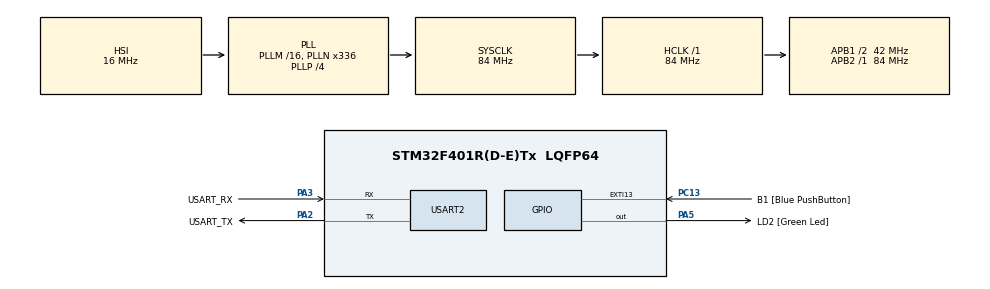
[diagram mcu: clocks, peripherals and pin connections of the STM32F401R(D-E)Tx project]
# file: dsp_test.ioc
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Mcu.Family=STM32F4
Mcu.Name=STM32F401R(D-E)Tx
Mcu.Package=LQFP64
NVIC.PriorityGroup=NVIC_PRIORITYGROUP_0
PA13.GPIO_Label=TMS
PA13.Mode=Serial_Wire
PA13.Signal=SYS_JTMS-SWDIO
PA14.GPIO_Label=TCK
PA14.Mode=Serial_Wire
PA14.Signal=SYS_JTCK-SWCLK
PA2.GPIO_Label=USART_TX
PA2.GPIO_Mode=GPIO_MODE_AF_PP
PA2.GPIO_PuPd=GPIO_NOPULL
PA2.GPIO_Speed=GPIO_SPEED_FREQ_LOW
PA2.Mode=Asynchronous
PA2.Signal=USART2_TX
PA3.GPIO_Label=USART_RX
PA3.GPIO_Mode=GPIO_MODE_AF_PP
PA3.GPIO_PuPd=GPIO_NOPULL
PA3.GPIO_Speed=GPIO_SPEED_FREQ_LOW
PA3.Mode=Asynchronous
PA3.Signal=USART2_RX
PA5.GPIO_Label=LD2 [Green Led]
PA5.GPIO_Mode=GPIO_MODE_OUTPUT_PP
PA5.GPIO_PuPd=GPIO_NOPULL
PA5.GPIO_Speed=GPIO_SPEED_FREQ_LOW
PA5.Signal=GPIO_Output
PB3.GPIO_Label=SWO
PB3.Signal=SYS_JTDO-SWO
PC13-ANTI_TAMP.GPIO_Label=B1 [Blue PushButton]
PC13-ANTI_TAMP.GPIO_ModeDefaultEXTI=GPIO_MODE_IT_FALLING
PC13-ANTI_TAMP.GPIO_PuPd=GPIO_NOPULL
PC13-ANTI_TAMP.Signal=GPXTI13
PC14-OSC32_IN.Mode=LSE-External-Oscillator
PC14-OSC32_IN.Signal=RCC_OSC32_IN
PC15-OSC32_OUT.Mode=LSE-External-Oscillator
PC15-OSC32_OUT.Signal=RCC_OSC32_OUT
PH0\ -\ OSC_IN.Mode=HSE-External-Clock-Source
PH0\ -\ OSC_IN.Signal=RCC_OSC_IN
PH1\ -\ OSC_OUT.Mode=HSE-External-Clock-Source
PH1\ -\ OSC_OUT.Signal=RCC_OSC_OUT
ProjectManager.HeapSize=0x200
ProjectManager.StackSize=0x400
ProjectManager.TargetToolchain=SW4STM32
RCC.48MHZClocksFreq_Value=48000000
RCC.AHBFreq_Value=84000000
RCC.APB1CLKDivider=RCC_HCLK_DIV2
RCC.APB1Freq_Value=42000000
RCC.APB1TimFreq_Value=84000000
RCC.APB2Freq_Value=84000000
RCC.APB2TimFreq_Value=84000000
RCC.CortexFreq_Value=84000000
RCC.HCLKFreq_Value=84000000
RCC.HSE_VALUE=8000000
RCC.HSI_VALUE=16000000
RCC.PLLN=336
RCC.PLLP=RCC_PLLP_DIV4
RCC.PLLQ=7
RCC.SYSCLKFreq_VALUE=84000000
RCC.SYSCLKSource=RCC_SYSCLKSOURCE_PLLCLK
RCC.VCOOutputFreq_Value=336000000
USART2.VirtualMode=VM_ASYNC
board=NUCLEO-F401RE

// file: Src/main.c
/* USER CODE BEGIN Header */
/**
  ******************************************************************************
  * @file           : main.c
  * @brief          : Main program body
  ******************************************************************************
  * @attention
  *
  * <h2><center>&copy; Copyright (c) 2019 STMicroelectronics.
  * All rights reserved.</center></h2>
  *
  * This software component is licensed by ST under BSD 3-Clause license,
  * the "License"; You may not use this file except in compliance with the
  * License. You may obtain a copy of the License at:
  *                        opensource.org/licenses/BSD-3-Clause
  *
  ******************************************************************************
  */
/* USER CODE END Header */

#include "main.h"

/* USER CODE BEGIN Includes */
#include <sys/unistd.h>
#include <errno.h>
#include "arm_math.h"
#include "arm_const_structs.h"

/* USER CODE END Includes */

UART_HandleTypeDef huart2;

/* USER CODE BEGIN PV */
/* -------------------------------------------------------------------
 * External Input and Output buffer Declarations for FFT Bin Example
 * ------------------------------------------------------------------- */
float32_t testInput[32] =
{
    0.0,
    1.9509032201612824,
    3.826834323650898,
    5.555702330196022,
    7.071067811865475,
    8.314696123025453,
    9.238795325112868,
    9.807852804032304,
    10.0,
    9.807852804032304,
    9.238795325112868,
    8.314696123025454,
    7.0710678118654755,
    5.555702330196022,
    3.826834323650899,
    1.9509032201612861,
    1.2246467991473533e-15,
    -1.9509032201612837,
    -3.8268343236508966,
    -5.55570233019602,
    -7.071067811865475,
    -8.314696123025453,
    -9.238795325112864,
    -9.807852804032303,
    -10.0,
    -9.807852804032304,
    -9.238795325112866,
    -8.314696123025454,
    -7.071067811865477,
    -5.555702330196022,
    -3.826834323650904,
    -1.9509032201612873
};
float32_t testOutput[32];

/* USER CODE END PV */

void SystemClock_Config(void);
static void MX_GPIO_Init(void);
static void MX_USART2_UART_Init(void);

/* USER CODE BEGIN 0 */
int _write(int file, char *ptr, int len)
{
  if ((file != STDOUT_FILENO) && (file != STDERR_FILENO))
  {
     errno = EBADF;
     return -1;
  }

  HAL_StatusTypeDef status =
     HAL_UART_Transmit(&huart2, (uint8_t*)ptr, len, 1000);

  return (status == HAL_OK ? len : 0);
}

/* USER CODE END 0 */

int main(void)
{

  /* MCU Configuration--------------------------------------------------------*/

  /* Reset of all peripherals, Initializes the Flash interface and the Systick. */
  HAL_Init();

  /* Configure the system clock */
  SystemClock_Config();

  /* Initialize all configured peripherals */
  MX_GPIO_Init();
  MX_USART2_UART_Init();
  /* USER CODE BEGIN 2 */
  arm_rfft_fast_instance_f32 S; // RFFT instance
  arm_status status;
  status = arm_rfft_fast_init_f32(&S, 32);
  arm_rfft_fast_f32(&S, testInput, testOutput, 0);

  if ( status != ARM_MATH_SUCCESS)
  {
    while (1);
  }
  printf("N, Amplitude\r\n");
  for (int i = 0; i < sizeof(testInput)/sizeof(testInput[0]); i++)
  {
    printf("%d, %f\r\n", i, testInput[i]);
  }

  printf("N, Freq\r\n");
  for (int i = 0; i < sizeof(testOutput)/sizeof(testOutput[0]); i++)
  {
    printf("%d, %f\r\n", i, testOutput[i]);
  }
  /* USER CODE END 2 */

  /* Infinite loop */
  while (1)
  {

  }
}

void SystemClock_Config(void)
{
  RCC_OscInitTypeDef RCC_OscInitStruct = {0};
  RCC_ClkInitTypeDef RCC_ClkInitStruct = {0};

  /** Configure the main internal regulator output voltage
  */
  __HAL_RCC_PWR_CLK_ENABLE();
  __HAL_PWR_VOLTAGESCALING_CONFIG(PWR_REGULATOR_VOLTAGE_SCALE2);
  /** Initializes the CPU, AHB and APB busses clocks
  */
  RCC_OscInitStruct.OscillatorType = RCC_OSCILLATORTYPE_HSI;
  RCC_OscInitStruct.HSIState = RCC_HSI_ON;
  RCC_OscInitStruct.HSICalibrationValue = RCC_HSICALIBRATION_DEFAULT;
  RCC_OscInitStruct.PLL.PLLState = RCC_PLL_ON;
  RCC_OscInitStruct.PLL.PLLSource = RCC_PLLSOURCE_HSI;
  RCC_OscInitStruct.PLL.PLLM = 16;
  RCC_OscInitStruct.PLL.PLLN = 336;
  RCC_OscInitStruct.PLL.PLLP = RCC_PLLP_DIV4;
  RCC_OscInitStruct.PLL.PLLQ = 7;
  if (HAL_RCC_OscConfig(&RCC_OscInitStruct) != HAL_OK)
  {
    Error_Handler();
  }
  /** Initializes the CPU, AHB and APB busses clocks
  */
  RCC_ClkInitStruct.ClockType = RCC_CLOCKTYPE_HCLK|RCC_CLOCKTYPE_SYSCLK
                              |RCC_CLOCKTYPE_PCLK1|RCC_CLOCKTYPE_PCLK2;
  RCC_ClkInitStruct.SYSCLKSource = RCC_SYSCLKSOURCE_PLLCLK;
  RCC_ClkInitStruct.AHBCLKDivider = RCC_SYSCLK_DIV1;
  RCC_ClkInitStruct.APB1CLKDivider = RCC_HCLK_DIV2;
  RCC_ClkInitStruct.APB2CLKDivider = RCC_HCLK_DIV1;

  if (HAL_RCC_ClockConfig(&RCC_ClkInitStruct, FLASH_LATENCY_2) != HAL_OK)
  {
    Error_Handler();
  }
}

static void MX_USART2_UART_Init(void)
{

  huart2.Instance = USART2;
  huart2.Init.BaudRate = 115200;
  huart2.Init.WordLength = UART_WORDLENGTH_8B;
  huart2.Init.StopBits = UART_STOPBITS_1;
  huart2.Init.Parity = UART_PARITY_NONE;
  huart2.Init.Mode = UART_MODE_TX_RX;
  huart2.Init.HwFlowCtl = UART_HWCONTROL_NONE;
  huart2.Init.OverSampling = UART_OVERSAMPLING_16;
  if (HAL_UART_Init(&huart2) != HAL_OK)
  {
    Error_Handler();
  }

}

static void MX_GPIO_Init(void)
{
  GPIO_InitTypeDef GPIO_InitStruct = {0};

  /* GPIO Ports Clock Enable */
  __HAL_RCC_GPIOC_CLK_ENABLE();
  __HAL_RCC_GPIOH_CLK_ENABLE();
  __HAL_RCC_GPIOA_CLK_ENABLE();
  __HAL_RCC_GPIOB_CLK_ENABLE();

  /*Configure GPIO pin Output Level */
  HAL_GPIO_WritePin(LD2_GPIO_Port, LD2_Pin, GPIO_PIN_RESET);

  /*Configure GPIO pin : B1_Pin */
  GPIO_InitStruct.Pin = B1_Pin;
  GPIO_InitStruct.Mode = GPIO_MODE_IT_FALLING;
  GPIO_InitStruct.Pull = GPIO_NOPULL;
  HAL_GPIO_Init(B1_GPIO_Port, &GPIO_InitStruct);

  /*Configure GPIO pin : LD2_Pin */
  GPIO_InitStruct.Pin = LD2_Pin;
  GPIO_InitStruct.Mode = GPIO_MODE_OUTPUT_PP;
  GPIO_InitStruct.Pull = GPIO_NOPULL;
  GPIO_InitStruct.Speed = GPIO_SPEED_FREQ_LOW;
  HAL_GPIO_Init(LD2_GPIO_Port, &GPIO_InitStruct);

}

void Error_Handler(void)
{
}

/************************ (C) COPYRIGHT STMicroelectronics *****END OF FILE****/
